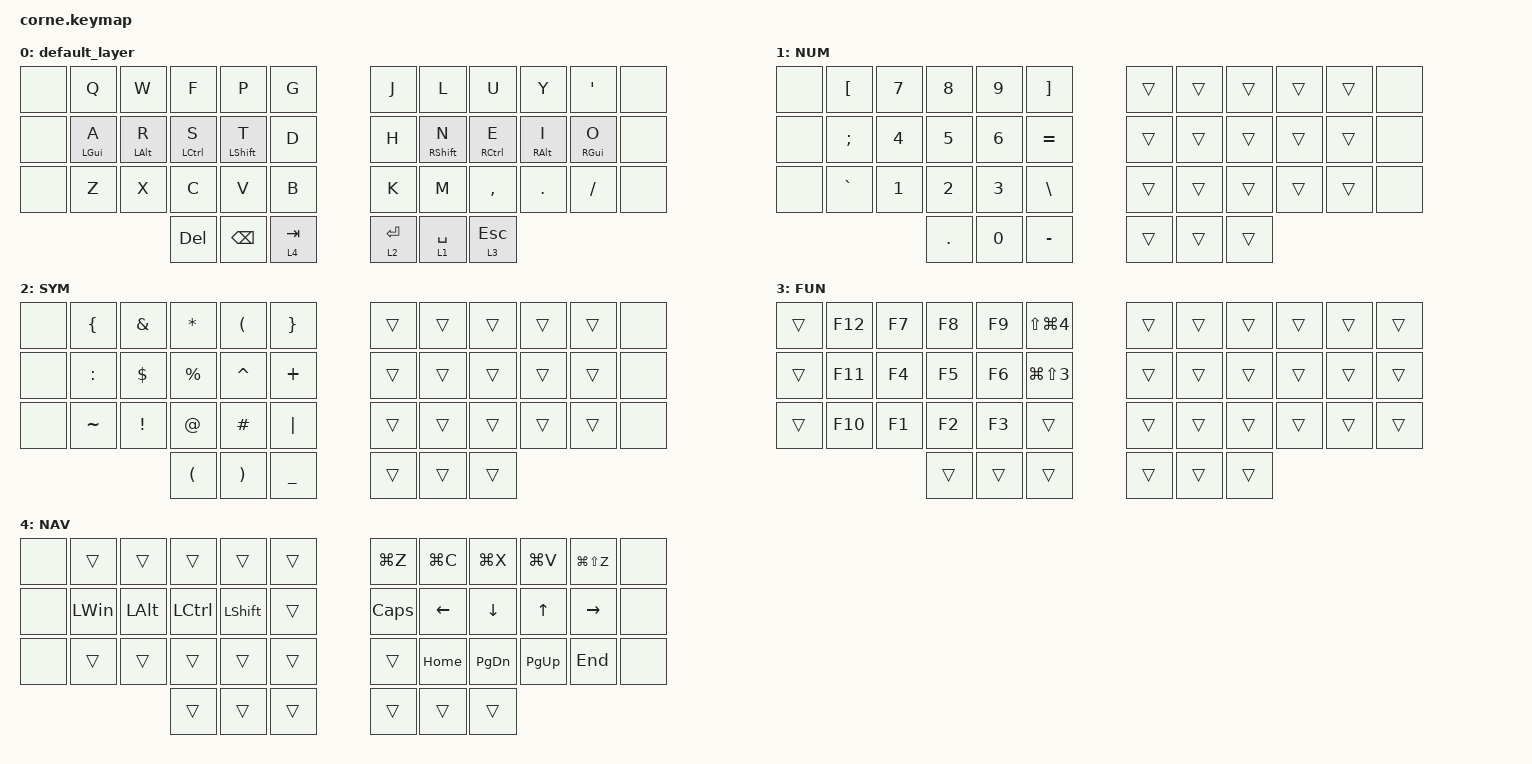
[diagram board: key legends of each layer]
/*
 * Copyright (c) 2020 The ZMK Contributors
 *
 * SPDX-License-Identifier: MIT
 */

#include <behaviors.dtsi>
#include <dt-bindings/zmk/keys.h>

/ {
    keymap {
        compatible = "zmk,keymap";

        default_layer {
            // -----------------------------------------------------------------------------------------
            // |  TAB |  Q  |  W  |  E  |  R  |  T  |   |  Y  |  U   |  I  |  O  |  P  | BKSP |
            // | CTRL |  A  |  S  |  D  |  F  |  G  |   |  H  |  J   |  K  |  L  |  ;  |  '   |
            // | SHFT |  Z  |  X  |  C  |  V  |  B  |   |  N  |  M   |  ,  |  .  |  /  | ESC  |
            //                    | GUI | LWR | SPC |   | ENT | RSE  | ALT |

            bindings = <
&none  &kp Q       &kp W       &kp F        &kp P          &kp G        &kp J        &kp L        &kp U        &kp Y       &kp SQT     &none
&none  &mt LGUI A  &mt LALT R  &mt LCTRL S  &mt LSHFT T    &kp D        &kp H        &mt RSHFT N  &mt RCTRL E  &mt RALT I  &mt RGUI O  &none
&none  &kp Z       &kp X       &kp C        &kp V          &kp B        &kp K        &kp M        &kp COMMA    &kp DOT     &kp FSLH    &none
                               &kp DEL      &kp BACKSPACE  &lt 4 TAB    &lt 2 ENTER  &lt 1 SPACE  &lt 3 ESC
            >;
        };

        NUM {
            // -----------------------------------------------------------------------------------------
            // |  TAB |  1  |  2  |  3  |  4  |  5  |   |  6  |  7  |  8  |  9  |  0  | BKSP |
            // | BTCLR| BT1 | BT2 | BT3 | BT4 | BT5 |   | LFT | DWN |  UP | RGT |     |      |
            // | SHFT |     |     |     |     |     |   |     |     |     |     |     |      |
            //                    | GUI |     | SPC |   | ENT |     | ALT |

            bindings = <
&none  &kp LBKT       &kp N7        &kp N8        &kp N9        &kp RBKT     &trans  &trans  &trans  &trans  &trans  &none
&none  &kp SEMICOLON  &kp NUMBER_4  &kp N5        &kp NUMBER_6  &kp EQUAL    &trans  &trans  &trans  &trans  &trans  &none
&none  &kp GRAVE      &kp NUMBER_1  &kp NUMBER_2  &kp NUMBER_3  &kp BSLH     &trans  &trans  &trans  &trans  &trans  &none
                                    &kp DOT       &kp N0        &kp MINUS    &trans  &trans  &trans
            >;
        };

        SYM {
            // -----------------------------------------------------------------------------------------
            // |  TAB |  !  |  @  |  #  |  $  |  %  |   |  ^  |  &  |  *  |  (  |  )  | BKSP |
            // | CTRL |     |     |     |     |     |   |  -  |  =  |  [  |  ]  |  \  |  `   |
            // | SHFT |     |     |     |     |     |   |  _  |  +  |  {  |  }  | "|" |  ~   |
            //                    | GUI |     | SPC |   | ENT |     | ALT |

            bindings = <
&none  &kp LBRC   &kp AMPS    &kp STAR     &kp LPAR   &kp RBRC     &trans  &trans  &trans  &trans  &trans  &none
&none  &kp COLON  &kp DOLLAR  &kp PERCENT  &kp CARET  &kp PLUS     &trans  &trans  &trans  &trans  &trans  &none
&none  &kp TILDE  &kp EXCL    &kp AT       &kp HASH   &kp PIPE     &trans  &trans  &trans  &trans  &trans  &none
                              &kp LPAR     &kp RPAR   &kp UNDER    &trans  &trans  &trans
            >;
        };

        FUN {
            bindings = <
&trans  &kp F12  &kp F7  &kp F8  &kp F9  &kp LS(LG(NUMBER_4))    &trans  &trans  &trans  &trans  &trans  &trans
&trans  &kp F11  &kp F4  &kp F5  &kp F6  &kp LG(LS(NUMBER_3))    &trans  &trans  &trans  &trans  &trans  &trans
&trans  &kp F10  &kp F1  &kp F2  &kp F3  &trans                  &trans  &trans  &trans  &trans  &trans  &trans
                         &trans  &trans  &trans                  &trans  &trans  &trans
            >;
        };

        NAV {
            bindings = <
&none  &trans    &trans    &trans     &trans     &trans    &kp LG(Z)  &kp LG(C)  &kp LG(X)      &kp LG(V)    &kp LG(LS(Z))  &none
&none  &kp LWIN  &kp LALT  &kp LCTRL  &kp LSHFT  &trans    &kp CAPS   &kp LEFT   &kp DOWN       &kp UP       &kp RIGHT      &none
&none  &trans    &trans    &trans     &trans     &trans    &trans     &kp HOME   &kp PAGE_DOWN  &kp PAGE_UP  &kp END        &none
                           &trans     &trans     &trans    &trans     &trans     &trans
            >;
        };
    };
};
